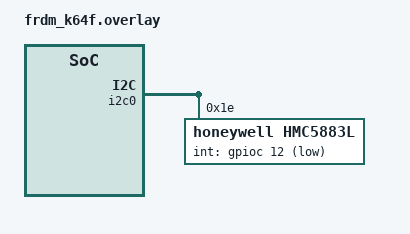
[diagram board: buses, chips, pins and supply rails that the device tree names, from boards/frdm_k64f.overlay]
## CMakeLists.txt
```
# SPDX-License-Identifier: Apache-2.0

cmake_minimum_required(VERSION 3.20.0)
find_package(Zephyr REQUIRED HINTS $ENV{ZEPHYR_BASE})
project(hmc5883l)

FILE(GLOB app_sources src/*.c)
target_sources(app PRIVATE ${app_sources})
```

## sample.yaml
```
sample:
  name: HMC5883L Sensor Sample
tests:
  sample.sensor.hmc5883l:
    harness: sensor
    tags: sensors
    pre-filter: subsys_dt_compat_enabled("i2c") and subsys_dt_compat_enabled("gpio")
    filter: dt_compat_enabled("honeywell,hmc5883l")
```

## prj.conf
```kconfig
CONFIG_I2C=y
CONFIG_GPIO=y
CONFIG_SENSOR=y
CONFIG_HMC5883L=y
CONFIG_HMC5883L_TRIGGER_GLOBAL_THREAD=y
CONFIG_CBPRINTF_FP_SUPPORT=y
```

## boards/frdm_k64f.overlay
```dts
/*
 * Copyright (c) 2019, Linaro Ltd.
 *
 * SPDX-License-Identifier: Apache-2.0
 */

&i2c0 {
	hmc5883l@1e {
		compatible = "honeywell,hmc5883l";
		reg = <0x1E>;
		int-gpios = <&gpioc 12 GPIO_ACTIVE_LOW>;
		label = "HMC5883L";
	};
};
```

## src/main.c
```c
/*
 * Copyright (c) 2019, Linaro Ltd.
 *
 * SPDX-License-Identifier: Apache-2.0
 */

#include <zephyr/zephyr.h>
#include <zephyr/device.h>
#include <zephyr/drivers/sensor.h>
#include <stdio.h>
#include <zephyr/sys/printk.h>


static int32_t read_sensor(const struct device *sensor)
{
	struct sensor_value val[3];
	int32_t ret = 0;

	ret = sensor_sample_fetch(sensor);
	if (ret) {
		printk("sensor_sample_fetch failed ret %d\n", ret);
		goto end;
	}

	ret = sensor_channel_get(sensor, SENSOR_CHAN_MAGN_XYZ, val);
	if (ret < 0) {
		printf("Cannot read sensor channels\n");
		goto end;
	}

	printf("( x y z ) = ( %f  %f  %f )\n", sensor_value_to_double(&val[0]),
	       sensor_value_to_double(&val[1]),
	       sensor_value_to_double(&val[2]));

end:
	return ret;
}

void main(void)
{
	const struct device *dev;

	dev = device_get_binding(DT_LABEL(DT_INST(0, honeywell_hmc5883l)));

	if (dev == NULL) {
		printk("Could not get %s device at I2C addr 0x%02X\n",
		       DT_LABEL(DT_INST(0, honeywell_hmc5883l)),
		       DT_REG_ADDR(DT_INST(0, honeywell_hmc5883l)));
		return;
	}

	printk("device is %p, name is %s\n", dev, dev->name);

	while (1) {
		read_sensor(dev);
		k_sleep(K_MSEC(1000));
	}
}
```
